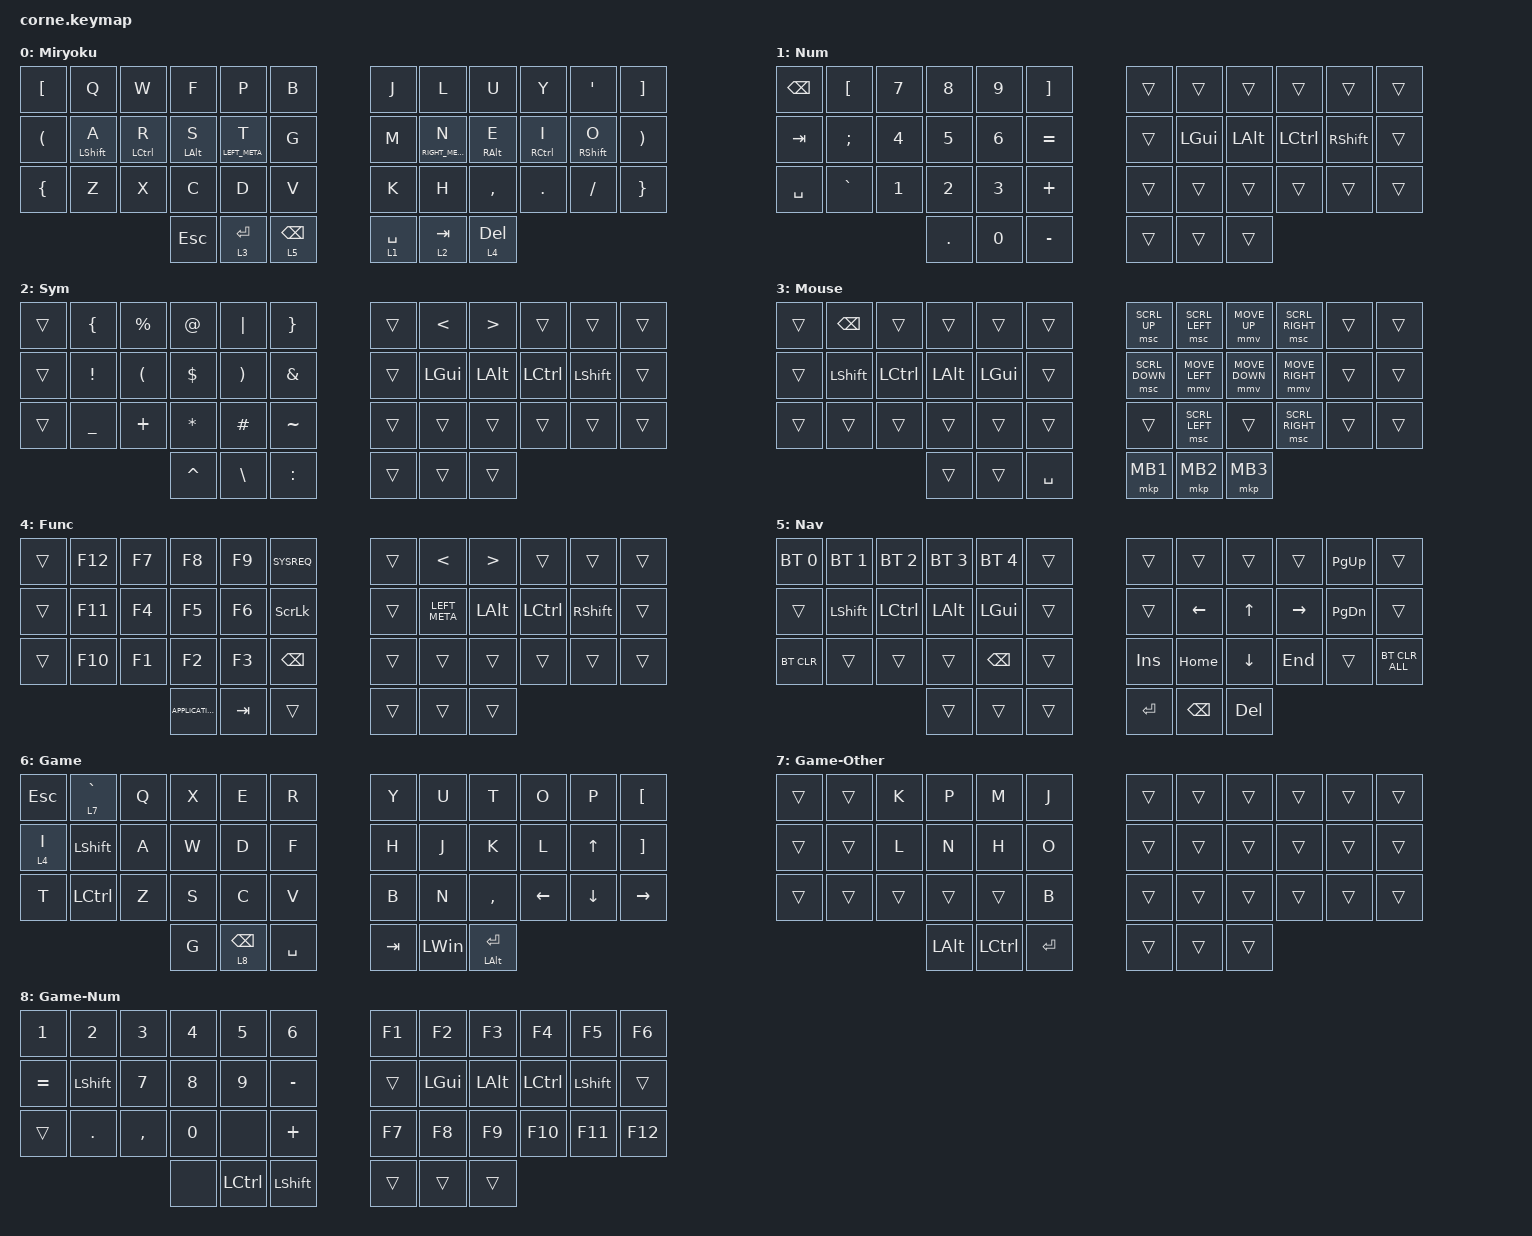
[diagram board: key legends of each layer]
/*
 * Copyright (c) 2020 The ZMK Contributors
 *
 * SPDX-License-Identifier: MIT
 */

#define ZMK_POINTING_DEFAULT_MOVE_VAL 450  // default: 600

#include <behaviors.dtsi>
#include <dt-bindings/zmk/bt.h>
#include <dt-bindings/zmk/keys.h>
#include <dt-bindings/zmk/pointing.h>

&mt {
    tapping-term-ms = <250>;
    flavor = "tap-preferred";
};

&mmv { acceleration-exponent = <0>; };

/ {
    combos {
        compatible = "zmk,combos";

        To-Game {
            bindings = <&tog 6>;
            key-positions = <0 5>;
        };

        CapsLock {
            bindings = <&kp CAPSLOCK>;
            key-positions = <12 23>;
        };

        Capsword {
            bindings = <&caps_word>;
            key-positions = <38 39>;
        };
    };

    keymap {
        compatible = "zmk,keymap";

        Miryoku {
            // -----------------------------------------------------------------------------------------
            // |  TAB |  Q  |  W  |  E  |  R  |  T  |   |  Y  |  U   |  I  |  O  |  P  | BKSP |
            // | CTRL |  A  |  S  |  D  |  F  |  G  |   |  H  |  J   |  K  |  L  |  ;  |  '   |
            // | SHFT |  Z  |  X  |  C  |  V  |  B  |   |  N  |  M   |  ,  |  .  |  /  | ESC  |
            //                    | GUI | LWR | SPC |   | ENT | RSE  | ALT |

            bindings = <
&kp LEFT_BRACKET      &kp Q             &kp W        &kp F           &kp P            &kp B              &kp J        &kp L             &kp U            &kp Y        &kp SQT            &kp RIGHT_BRACKET
&kp LEFT_PARENTHESIS  &mt LEFT_SHIFT A  &mt LCTRL R  &mt LEFT_ALT S  &mt LEFT_META T  &kp G              &kp M        &mt RIGHT_META N  &mt RIGHT_ALT E  &mt RCTRL I  &mt RIGHT_SHIFT O  &kp RIGHT_PARENTHESIS
&kp LEFT_BRACE        &kp Z             &kp X        &kp C           &kp D            &kp V              &kp K        &kp H             &kp COMMA        &kp DOT      &kp FSLH           &kp RIGHT_BRACE
                                                     &kp ESC         &lt 3 RET        &lt 5 BACKSPACE    &lt 1 SPACE  &lt 2 TAB         &lt 4 DEL
            >;
        };

        Num {
            bindings = <
&kp BACKSPACE  &kp LEFT_BRACKET  &kp N7  &kp N8      &kp N9  &kp RIGHT_BRACKET    &trans  &trans    &trans        &trans     &trans     &trans
&kp TAB        &kp SEMI          &kp N4  &kp N5      &kp N6  &kp EQUAL            &trans  &kp LGUI  &kp LEFT_ALT  &kp LCTRL  &kp RSHFT  &trans
&kp SPACE      &kp GRAVE         &kp N1  &kp N2      &kp N3  &kp PLUS             &trans  &trans    &trans        &trans     &trans     &trans
                                         &kp PERIOD  &kp N0  &kp MINUS            &trans  &trans    &trans
            >;
        };

        Sym {
            bindings = <
&trans  &kp LEFT_BRACE   &kp PERCENT           &kp AT_SIGN   &kp PIPE               &kp RIGHT_BRACE    &trans  &kp LESS_THAN  &kp GREATER_THAN  &trans     &trans     &trans
&trans  &kp EXCLAMATION  &kp LEFT_PARENTHESIS  &kp DOLLAR    &kp RIGHT_PARENTHESIS  &kp AMPERSAND      &trans  &kp LGUI       &kp LEFT_ALT      &kp LCTRL  &kp LSHFT  &trans
&trans  &kp UNDERSCORE   &kp PLUS              &kp ASTERISK  &kp HASH               &kp TILDE          &trans  &trans         &trans            &trans     &trans     &trans
                                               &kp CARET     &kp BACKSLASH          &kp COLON          &trans  &trans         &trans
            >;
        };

        Mouse {
            bindings = <
&trans  &kp BSPC   &trans     &trans    &trans    &trans       &msc SCRL_UP    &msc SCRL_LEFT  &mmv MOVE_UP    &msc SCRL_RIGHT  &trans  &trans
&trans  &kp LSHFT  &kp LCTRL  &kp LALT  &kp LGUI  &trans       &msc SCRL_DOWN  &mmv MOVE_LEFT  &mmv MOVE_DOWN  &mmv MOVE_RIGHT  &trans  &trans
&trans  &trans     &trans     &trans    &trans    &trans       &trans          &msc SCRL_LEFT  &trans          &msc SCRL_RIGHT  &trans  &trans
                              &trans    &trans    &kp SPACE    &mkp MB1        &mkp MB2        &mkp MB3
            >;
        };

        Func {
            bindings = <
&trans  &kp F12  &kp F7  &kp F8             &kp F9   &kp SYSREQ        &trans  &kp LESS_THAN  &kp GREATER_THAN  &trans     &trans           &trans
&trans  &kp F11  &kp F4  &kp F5             &kp F6   &kp SCROLLLOCK    &trans  &kp LEFT_META  &kp LEFT_ALT      &kp LCTRL  &kp RIGHT_SHIFT  &trans
&trans  &kp F10  &kp F1  &kp F2             &kp F3   &kp BACKSPACE     &trans  &trans         &trans            &trans     &trans           &trans
                         &kp K_APPLICATION  &kp TAB  &trans            &trans  &trans         &trans
            >;
        };

        Nav {
            bindings = <
&bt BT_SEL 0  &bt BT_SEL 1  &bt BT_SEL 2  &bt BT_SEL 3  &bt BT_SEL 4   &trans    &trans   &trans          &trans    &trans     &kp PG_UP  &trans
&trans        &kp LSHFT     &kp LCTRL     &kp LEFT_ALT  &kp LGUI       &trans    &trans   &kp LEFT_ARROW  &kp UP    &kp RIGHT  &kp PG_DN  &trans
&bt BT_CLR    &trans        &trans        &trans        &kp BACKSPACE  &trans    &kp INS  &kp HOME        &kp DOWN  &kp END    &trans     &bt BT_CLR_ALL
                                          &trans        &trans         &trans    &kp RET  &kp BACKSPACE   &kp DEL
            >;
        };

        Game {
            bindings = <
&kp ESCAPE  &lt 7 GRAVE     &kp Q  &kp X  &kp E            &kp R        &kp Y    &kp U         &kp T               &kp O           &kp P           &kp LEFT_BRACKET
&lt 4 I     &kp LEFT_SHIFT  &kp A  &kp W  &kp D            &kp F        &kp H    &kp J         &kp K               &kp L           &kp UP_ARROW    &kp RIGHT_BRACKET
&kp T       &kp LCTRL       &kp Z  &kp S  &kp C            &kp V        &kp B    &kp N         &kp COMMA           &kp LEFT_ARROW  &kp DOWN_ARROW  &kp RIGHT_ARROW
                                   &kp G  &lt 8 BACKSPACE  &kp SPACE    &kp TAB  &kp LEFT_WIN  &mt LEFT_ALT ENTER
            >;
        };

        Game-Other {
            bindings = <
&trans  &trans  &kp K   &kp P         &kp M      &kp J        &trans  &trans  &trans  &trans  &trans  &trans
&trans  &trans  &kp L   &kp N         &kp H      &kp O        &trans  &trans  &trans  &trans  &trans  &trans
&trans  &trans  &trans  &trans        &trans     &kp B        &trans  &trans  &trans  &trans  &trans  &trans
                        &kp LEFT_ALT  &kp LCTRL  &kp ENTER    &trans  &trans  &trans
            >;
        };

        Game-Num {
            bindings = <
&kp N1     &kp N2     &kp N3     &kp N4  &kp N5     &kp N6            &kp F1  &kp F2    &kp F3    &kp F4     &kp F5     &kp F6
&kp EQUAL  &kp LSHFT  &kp N7     &kp N8  &kp N9     &kp MINUS         &trans  &kp LGUI  &kp LALT  &kp LCTRL  &kp LSHFT  &trans
&trans     &kp DOT    &kp COMMA  &kp N0  &none      &kp PLUS          &kp F7  &kp F8    &kp F9    &kp F10    &kp F11    &kp F12
                                 &none   &kp LCTRL  &kp LEFT_SHIFT    &trans  &trans    &trans
            >;
        };
    };
};
